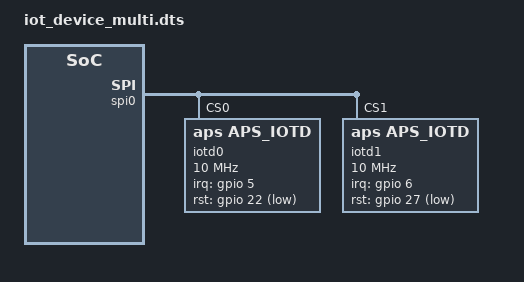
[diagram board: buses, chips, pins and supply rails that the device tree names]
/dts-v1/;
/plugin/;

/ {
        fragment@0 {
                target = <&spi0>;
                __overlay__ {
                        status = "okay";
                        /* Disable spidev 0 and 1 to leave the peripheral to the module*/
                        spidev@0{
                                status = "disabled";
                        };
                        spidev@1{
                                status = "disabled";
                        };
                };
        };

        fragment@1 {
                /* Target SPI device for the module.*/
                /* GPIO9  => MISO */
                /* GPIO10 => MOSI */
                /* GPIO11 => SCK  */
                target = <&spi0>;
                frag1: __overlay__ {
                        #address-cells = <1>;
                        #size-cells = <0>;

                        /* Device definition */
                        iotd0: iotd@0 {
                                compatible = "aps,aps_iotd";
                                /* Use CS0 (GPIO8)*/
                                reg = <0>;

                                #address-cells = <1>;
                                #size-cells = <0>;
                                spi-max-frequency = <10000000>;

                                interrupt-parent = <&gpio>;

                                /* Define interrupt type: GPIO5 rising edge and gpio to be input */
                                /* Change if the shield D0 selector is not GPIO6. */
                                interrupts = <5 1>;
                                irq-gpio = <&gpio 5 0>;

                                /* Define reset GPIO to be GPIO22 as output*/
                                /* Change if the shield RST selector is not GPIO22. */
                                rst-gpio = <&gpio 22 1>;

                                /* Dedicated startup configuration */
                                /* See README.md for detailed list of options */
                                sf = <7>;
                                bw = <5>;
                                header = <1>;
                                crc = <1>;
                                pwr = <10>;
                                nation_id = <0>;
                                freq = <169425000>;
                                preamble = <12>;
                                pa_boost = <1>;
                                node_id = <42>;
                        };

                        /* Device definition */
                        iotd1: iotd@1 {
                                compatible = "aps,aps_iotd";
                                /* Use CS1 (GPIO9)*/
                                reg = <1>;

                                #address-cells = <1>;
                                #size-cells = <0>;
                                spi-max-frequency = <10000000>;

                                interrupt-parent = <&gpio>;

                                /* Define interrupt type: GPIO6 rising edge and gpio to be input */
                                /* Change if the shield D0 selector is not GPIO6. */
                                interrupts = <6 1>;
                                irq-gpio = <&gpio 6 0>;

                                /* Define reset GPIO to be GPIO27 as output*/
                                /* Change if the shield RST selector is not GPIO27. */
                                rst-gpio = <&gpio 27 1>;

                                /* Dedicated startup configuration */
                                /* See README.md for detailed list of options */
                                sf = <7>;
                                bw = <5>;
                                header = <1>;
                                crc = <1>;
                                pwr = <10>;
                                nation_id = <0>;
                                freq = <169725000>;
                                preamble = <12>;
                                pa_boost = <1>;
                                node_id = <42>;
                        };
                };
        };

        fragment@2 {
                /* GPIO CONFIGURATION */
                target = <&gpio>;
                frag2: __overlay__ {
                        iotd_pins: iotd_pins {
                                /* Configure pins as */
                                /* GPIO22 => Output Push-Pull mode  */
                                /* GPIO27 => Output Push-Pull mode  */
                                /* GPIO5 => Input pull-down mode  */
                                /* GPIO6 => Input pull-down mode  */
                                brcm,pins = <22 27 5 6>;
                                brcm,function = <1 1 0 0>;
                                brcm,pull = <1 1 0 0>;
                        };
                };
        };
};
